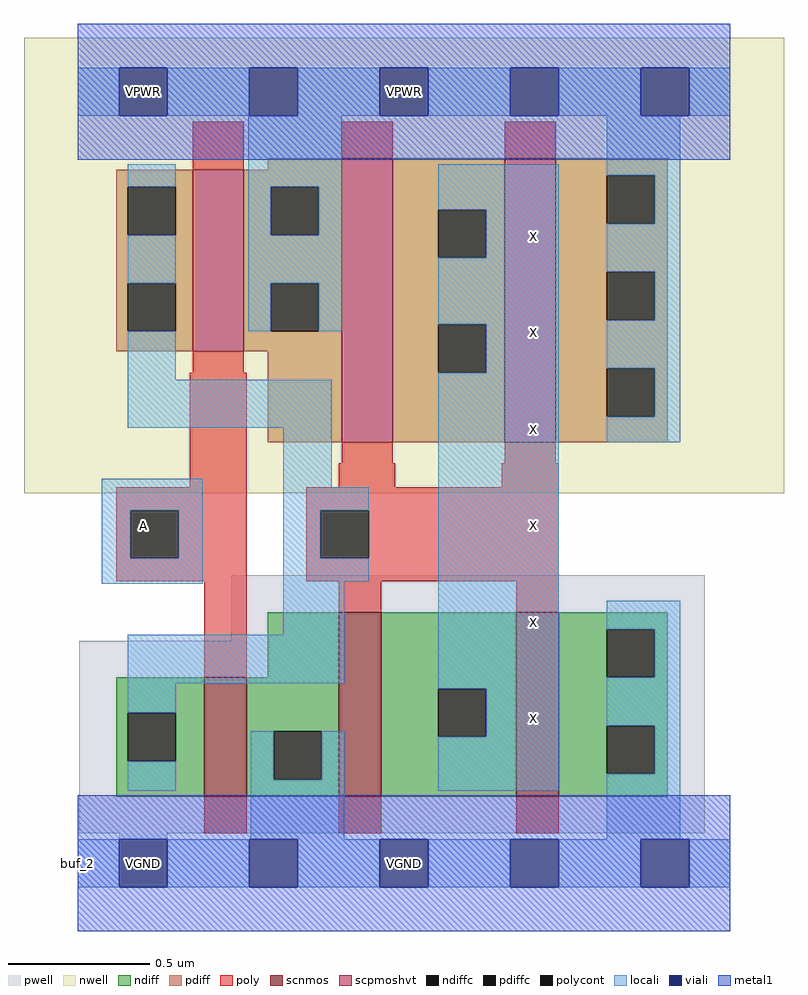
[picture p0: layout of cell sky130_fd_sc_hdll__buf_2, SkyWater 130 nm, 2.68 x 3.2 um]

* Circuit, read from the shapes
.subckt sky130_fd_sc_hdll__buf_2 A VGND VNB VPB VPWR X
XM1 VGND A n1 VNB sky130_fd_pr__nfet_01v8 w=0.42 l=0.15
XM2 X n1 VGND VNB sky130_fd_pr__nfet_01v8 w=0.65 l=0.15 m=2
XM3 VPWR A n1 VPB sky130_fd_pr__pfet_01v8_hvt w=0.64 l=0.18
XM4 X n1 VPWR VPB sky130_fd_pr__pfet_01v8_hvt w=1 l=0.18 m=2
.ends

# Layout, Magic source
magic
tech sky130A
magscale 1 2
<< nwell >>
rect -38 261 498 582
<< pwell >>
rect 108 157 442 203
rect 1 21 442 157
rect 29 -17 63 21
<< scnmos >>
rect 89 47 119 131
rect 184 47 214 177
rect 309 47 339 177
<< scpmoshvt >>
rect 81 361 117 489
rect 186 297 222 497
rect 301 297 337 497
<< ndiff >>
rect 134 131 184 177
rect 27 106 89 131
rect 27 72 35 106
rect 69 72 89 106
rect 27 47 89 72
rect 119 93 184 131
rect 119 59 138 93
rect 172 59 184 93
rect 119 47 184 59
rect 214 123 309 177
rect 214 89 254 123
rect 288 89 309 123
rect 214 47 309 89
rect 339 165 416 177
rect 339 131 373 165
rect 407 131 416 165
rect 339 97 416 131
rect 339 63 373 97
rect 407 63 416 97
rect 339 47 416 63
<< pdiff >>
rect 134 489 186 497
rect 27 477 81 489
rect 27 443 35 477
rect 69 443 81 477
rect 27 409 81 443
rect 27 375 35 409
rect 69 375 81 409
rect 27 361 81 375
rect 117 477 186 489
rect 117 443 136 477
rect 170 443 186 477
rect 117 409 186 443
rect 117 375 136 409
rect 170 375 186 409
rect 117 361 186 375
rect 134 297 186 361
rect 222 461 301 497
rect 222 427 254 461
rect 288 427 301 461
rect 222 380 301 427
rect 222 346 254 380
rect 288 346 301 380
rect 222 297 301 346
rect 337 485 416 497
rect 337 451 373 485
rect 407 451 416 485
rect 337 417 416 451
rect 337 383 373 417
rect 407 383 416 417
rect 337 349 416 383
rect 337 315 373 349
rect 407 315 416 349
rect 337 297 416 315
<< ndiffc >>
rect 35 72 69 106
rect 138 59 172 93
rect 254 89 288 123
rect 373 131 407 165
rect 373 63 407 97
<< pdiffc >>
rect 35 443 69 477
rect 35 375 69 409
rect 136 443 170 477
rect 136 375 170 409
rect 254 427 288 461
rect 254 346 288 380
rect 373 451 407 485
rect 373 383 407 417
rect 373 315 407 349
<< poly >>
rect 81 489 117 523
rect 186 497 222 523
rect 301 497 337 523
rect 81 346 117 361
rect 79 265 119 346
rect 186 282 222 297
rect 301 282 337 297
rect 184 265 224 282
rect 299 265 339 282
rect 27 249 119 265
rect 27 215 37 249
rect 71 215 119 249
rect 27 199 119 215
rect 161 249 339 265
rect 161 215 171 249
rect 205 215 339 249
rect 161 199 339 215
rect 89 131 119 199
rect 184 177 214 199
rect 309 177 339 199
rect 89 21 119 47
rect 184 21 214 47
rect 309 21 339 47
<< polycont >>
rect 37 215 71 249
rect 171 215 205 249
<< locali >>
rect 0 527 29 561
rect 63 527 121 561
rect 155 527 213 561
rect 247 527 305 561
rect 339 527 397 561
rect 431 527 460 561
rect 35 477 69 493
rect 35 409 69 443
rect 120 477 186 527
rect 120 443 136 477
rect 170 443 186 477
rect 120 409 186 443
rect 120 375 136 409
rect 170 375 186 409
rect 254 461 339 493
rect 288 427 339 461
rect 254 380 339 427
rect 35 341 69 375
rect 288 346 339 380
rect 35 307 179 341
rect 17 249 88 271
rect 17 215 37 249
rect 71 215 88 249
rect 17 197 88 215
rect 145 265 179 307
rect 145 249 205 265
rect 145 215 171 249
rect 145 199 205 215
rect 145 161 188 199
rect 35 127 188 161
rect 35 106 69 127
rect 254 123 339 346
rect 373 485 425 527
rect 407 451 425 485
rect 373 417 425 451
rect 407 383 425 417
rect 373 349 425 383
rect 407 315 425 349
rect 373 297 425 315
rect 35 51 69 72
rect 122 59 138 93
rect 172 59 188 93
rect 122 17 188 59
rect 288 89 339 123
rect 254 51 339 89
rect 373 165 425 185
rect 407 131 425 165
rect 373 97 425 131
rect 407 63 425 97
rect 373 17 425 63
rect 0 -17 29 17
rect 63 -17 121 17
rect 155 -17 213 17
rect 247 -17 305 17
rect 339 -17 397 17
rect 431 -17 460 17
<< viali >>
rect 29 527 63 561
rect 121 527 155 561
rect 213 527 247 561
rect 305 527 339 561
rect 397 527 431 561
rect 29 -17 63 17
rect 121 -17 155 17
rect 213 -17 247 17
rect 305 -17 339 17
rect 397 -17 431 17
<< metal1 >>
rect 0 561 460 592
rect 0 527 29 561
rect 63 527 121 561
rect 155 527 213 561
rect 247 527 305 561
rect 339 527 397 561
rect 431 527 460 561
rect 0 496 460 527
rect 0 17 460 48
rect 0 -17 29 17
rect 63 -17 121 17
rect 155 -17 213 17
rect 247 -17 305 17
rect 339 -17 397 17
rect 431 -17 460 17
rect 0 -48 460 -17
<< labels >>
flabel metal1 s 29 527 63 561 0 FreeSans 200 0 0 0 VPWR
port 5 nsew power bidirectional
flabel metal1 s 29 -17 63 17 0 FreeSans 200 0 0 0 VGND
port 2 nsew ground bidirectional
flabel locali s 29 527 63 561 0 FreeSans 200 0 0 0 VPWR
port 5 nsew power bidirectional
flabel locali s 29 -17 63 17 0 FreeSans 200 0 0 0 VGND
port 2 nsew ground bidirectional
flabel locali s 304 357 339 391 0 FreeSans 200 0 0 0 X
port 6 nsew signal output
flabel locali s 304 425 338 459 0 FreeSans 200 0 0 0 X
port 6 nsew signal output
flabel locali s 29 221 63 255 0 FreeSans 200 0 0 0 A
port 1 nsew signal input
flabel locali s 304 289 338 323 0 FreeSans 200 0 0 0 X
port 6 nsew signal output
flabel locali s 304 221 339 255 0 FreeSans 200 0 0 0 X
port 6 nsew signal output
flabel locali s 304 153 338 187 0 FreeSans 200 0 0 0 X
port 6 nsew signal output
flabel locali s 304 85 339 119 0 FreeSans 200 0 0 0 X
port 6 nsew signal output
flabel nwell s 29 527 63 561 0 FreeSans 200 0 0 0 VPB
port 4 nsew power bidirectional
flabel pwell s 29 -17 63 17 0 FreeSans 200 0 0 0 VNB
port 3 nsew ground bidirectional
rlabel comment s 0 0 0 0 4 buf_2
rlabel metal1 s 0 -48 460 48 1 VGND
port 2 nsew ground bidirectional
rlabel metal1 s 0 496 460 592 1 VPWR
port 5 nsew power bidirectional
<< properties >>
string LEFsite unithd
string LEFclass CORE
string FIXED_BBOX 0 0 460 544
string GDS_FILE $PDKPATH/libs.ref/sky130_fd_sc_hdll/gds/sky130_fd_sc_hdll.gds
string LEFsymmetry X Y R90
string GDS_END 1935326
string GDS_START 1930288
string LEFproperties maskLayoutSubType "abstract" prCellType "standard" originalViewName "layout"
<< end >>
